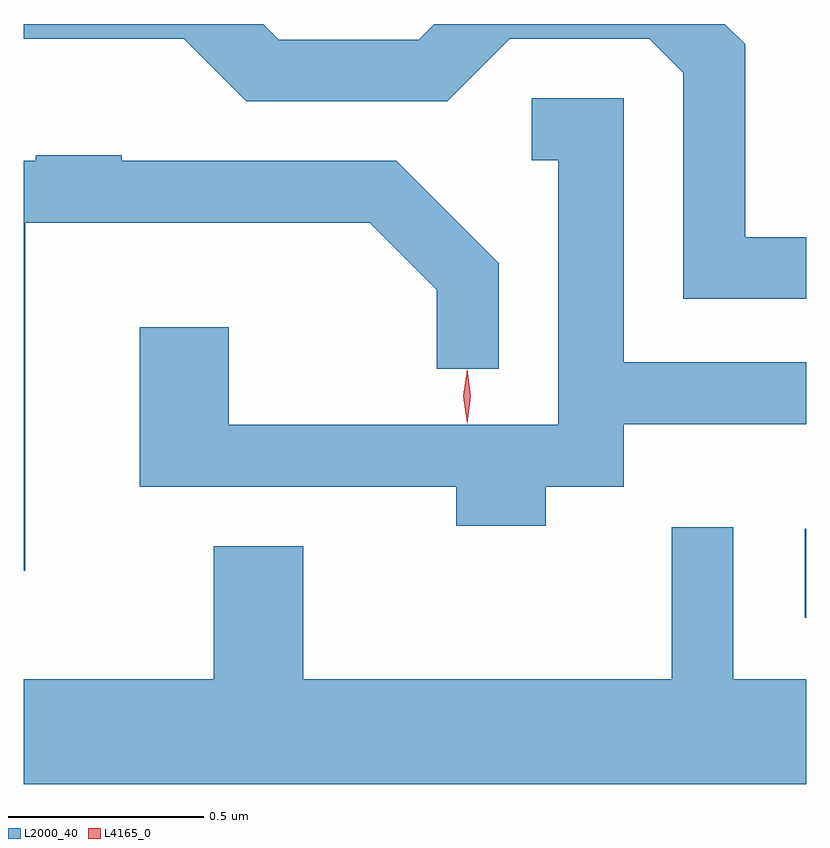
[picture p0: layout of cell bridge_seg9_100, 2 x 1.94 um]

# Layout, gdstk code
import gdstk
lib = gdstk.Library(unit=1e-6, precision=1e-09)
def R(c, l, rs):  # rectangles x0, y0, x1, y1
    for r in rs: c.add(gdstk.rectangle(r[:2], r[2:], *l))
def P(c, l, *ps):  # polygons
    for p in ps: c.add(gdstk.Polygon(p, *l))
L2000_40 = (2000, 40)
L4165_0 = (4165, 0)

bridge_seg9_100 = lib.new_cell('bridge_seg9_100')
R(bridge_seg9_100, L2000_40, [(1758.541,2005.561,1758.545,2005.789)])
P(bridge_seg9_100, L2000_40, [(1758.545,2006.534),(1758.389,2006.534),(1758.389,2007.027),(1758.337,2007.079),(1757.594,2007.079),(1757.554,2007.039),(1757.197,2007.039),(1757.157,2007.079),(1756.545,2007.079),(1756.545,2007.041),(1756.954,2007.041),(1757.114,2006.881),(1757.627,2006.881),(1757.787,2007.041),(1758.144,2007.041),(1758.231,2006.954),(1758.231,2006.376),(1758.545,2006.376)],
  [(1757.879,2005.896),(1758.079,2005.896),(1758.079,2006.056),(1758.545,2006.056),(1758.545,2006.214),(1758.079,2006.214),(1758.079,2006.889),(1757.843,2006.889),(1757.843,2006.731),(1757.911,2006.731),(1757.911,2006.054),(1757.069,2006.054),(1757.069,2006.304),(1756.841,2006.304),(1756.841,2005.896),(1757.651,2005.896),(1757.651,2005.796),(1757.879,2005.796)],
  [(1756.549,2006.571),(1757.429,2006.571),(1757.601,2006.399),(1757.601,2006.198),(1757.759,2006.198),(1757.759,2006.467),(1757.497,2006.729),(1756.795,2006.729),(1756.795,2006.744),(1756.575,2006.744),(1756.575,2006.729),(1756.545,2006.729),(1756.545,2005.681),(1756.549,2005.681)],
  [(1758.545,2005.404),(1758.359,2005.404),(1758.359,2005.793),(1758.201,2005.793),(1758.201,2005.404),(1757.259,2005.404),(1757.259,2005.744),(1757.031,2005.744),(1757.031,2005.404),(1756.545,2005.404),(1756.545,2005.136),(1758.545,2005.136)])
P(bridge_seg9_100, L4165_0, [(1757.678,2006.057),(1757.678,2006.058),(1757.668,2006.127),(1757.678,2006.196),(1757.678,2006.197),(1757.679,2006.196),(1757.688,2006.127),(1757.679,2006.058)])

lib.write_gds('bridge_seg9_100.gds')
